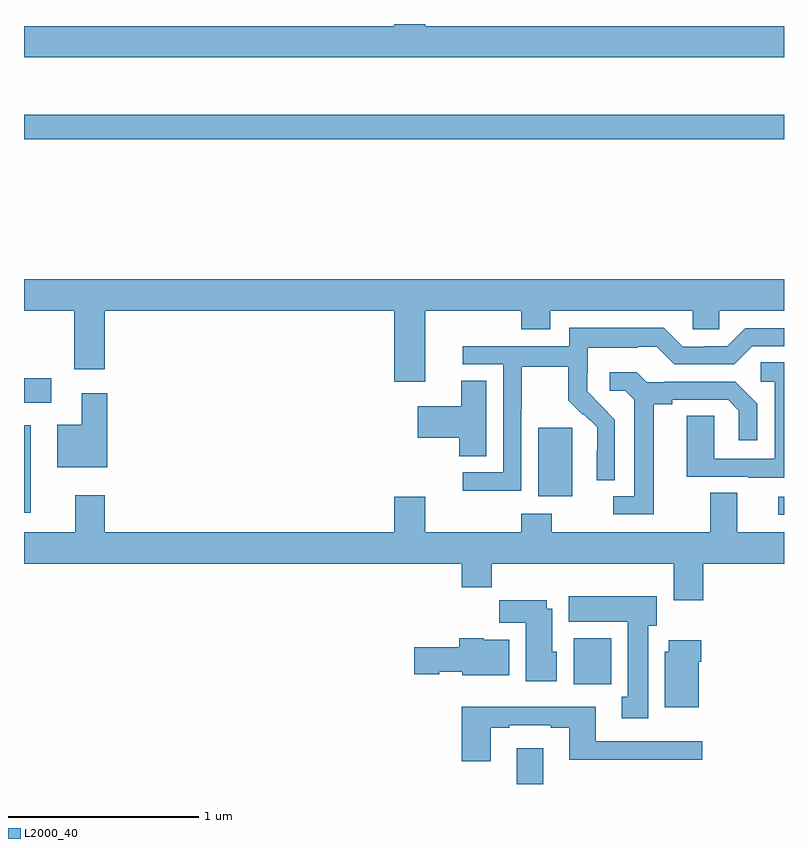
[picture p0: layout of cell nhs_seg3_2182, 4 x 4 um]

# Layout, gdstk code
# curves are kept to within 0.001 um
import gdstk
lib = gdstk.Library(unit=1e-6, precision=1e-09)
def R(c, l, rs):  # rectangles x0, y0, x1, y1
    for r in rs: c.add(gdstk.rectangle(r[:2], r[2:], *l))
def P(c, l, *ps):  # polygons
    for p in ps: c.add(gdstk.Polygon(p, *l))
L2000_40 = (2000, 40)

nhs_seg3_2182 = lib.new_cell('nhs_seg3_2182')
R(nhs_seg3_2182, L2000_40, [(225.593,722.4,225.733,722.587), (225.893,722.924,226.09,723.166), (226.971,723.816,227,723.912), (223,723.828,223.036,724.288), (225.707,723.914,225.886,724.275), (223,724.407,223.144,724.536), (223,725.794,227,725.923)])
P(nhs_seg3_2182, L2000_40, [(227,726.388),(225.112,726.388),(225.112,726.4),(224.948,726.4),(224.948,726.388),(223,726.388),(223,726.224),(227,726.224)],
  [(225.112,724.892),(225.617,724.892),(225.617,724.793),(225.769,724.793),(225.769,724.892),(226.521,724.892),(226.521,724.794),(226.659,724.794),(226.659,724.892),(227,724.892),(227,725.056),(223,725.056),(223,724.892),(223.264,724.892),(223.264,724.584),(223.424,724.584),(223.424,724.892),(224.948,724.892),(224.948,724.518),(225.112,724.518)],
  [(225.618,724.372),(225.621,724.372),(225.621,724.596),(225.865,724.596),(225.865,724.421),(225.942,724.344),(225.945,724.347),(226.016,724.277),(226.016,724.154),(226.014,724.154),(226.014,724),(226.11,724),(226.11,724.318),(225.964,724.466),(225.964,724.563),(225.966,724.563),(225.966,724.697),(226.229,724.697),(226.229,724.701),(226.329,724.701),(226.422,724.608),(226.737,724.608),(226.833,724.704),(227,724.704),(227,724.8),(226.797,724.8),(226.701,724.704),(226.583,724.704),(226.583,724.701),(226.467,724.701),(226.367,724.801),(225.87,724.801),(225.87,724.704),(225.309,724.704),(225.309,724.608),(225.522,724.608),(225.522,724.041),(225.309,724.041),(225.309,723.943),(225.618,723.943)],
  [(227,724.619),(226.878,724.619),(226.878,724.518),(226.95,724.518),(226.95,724.113),(226.632,724.113),(226.632,724.337),(226.487,724.337),(226.487,724.017),(226.811,724.017),(226.811,724.013),(227,724.013)],
  [(226.315,724.4),(226.411,724.4),(226.411,724.422),(226.706,724.422),(226.763,724.365),(226.763,724.209),(226.86,724.209),(226.86,724.402),(226.744,724.518),(226.372,724.518),(226.372,724.515),(226.278,724.515),(226.226,724.567),(226.083,724.567),(226.083,724.47),(226.164,724.47),(226.211,724.423),(226.211,723.915),(226.101,723.915),(226.101,723.819),(226.315,723.819)],
  [(225.433,724.523),(225.302,724.523),(225.302,724.387),(225.072,724.387),(225.072,724.222),(225.29,724.222),(225.29,724.126),(225.433,724.126)],
  [(223.439,724.456),(223.304,724.456),(223.304,724.291),(223.175,724.291),(223.175,724.067),(223.439,724.067)],
  [(226.574,723.56),(227,723.56),(227,723.724),(226.753,723.724),(226.753,723.932),(226.613,723.932),(226.613,723.724),(225.777,723.724),(225.777,723.823),(225.617,723.823),(225.617,723.724),(225.112,723.724),(225.112,723.913),(224.948,723.913),(224.948,723.724),(223.424,723.724),(223.424,723.919),(223.271,723.919),(223.271,723.724),(223,723.724),(223,723.56),(225.305,723.56),(225.305,723.436),(225.461,723.436),(225.461,723.56),(226.421,723.56),(226.421,723.366),(226.574,723.366)],
  [(226.285,723.234),(226.33,723.234),(226.33,723.388),(225.866,723.388),(225.866,723.254),(226.178,723.254),(226.178,722.858),(226.145,722.858),(226.145,722.745),(226.285,722.745)],
  [(225.805,723.096),(225.781,723.096),(225.781,723.322),(225.751,723.322),(225.751,723.367),(225.502,723.367),(225.502,723.248),(225.641,723.248),(225.641,722.942),(225.805,722.942)],
  [(225.553,723.16),(225.42,723.16),(225.42,723.166),(225.29,723.166),(225.29,723.12),(225.054,723.12),(225.054,722.978),(225.186,722.978),(225.186,722.99),(225.306,722.99),(225.306,722.972),(225.553,722.972)],
  [(226.552,723.044),(226.565,723.044),(226.565,723.157),(226.394,723.157),(226.394,723.096),(226.373,723.096),(226.373,722.804),(226.552,722.804)],
  [(225.457,722.697),(225.553,722.697),(225.553,722.709),(225.773,722.709),(225.773,722.697),(225.869,722.697),(225.869,722.528),(226.57,722.528),(226.57,722.625),(226.009,722.625),(226.009,722.806),(225.305,722.806),(225.305,722.52),(225.457,722.52)])

lib.write_gds('nhs_seg3_2182.gds')
